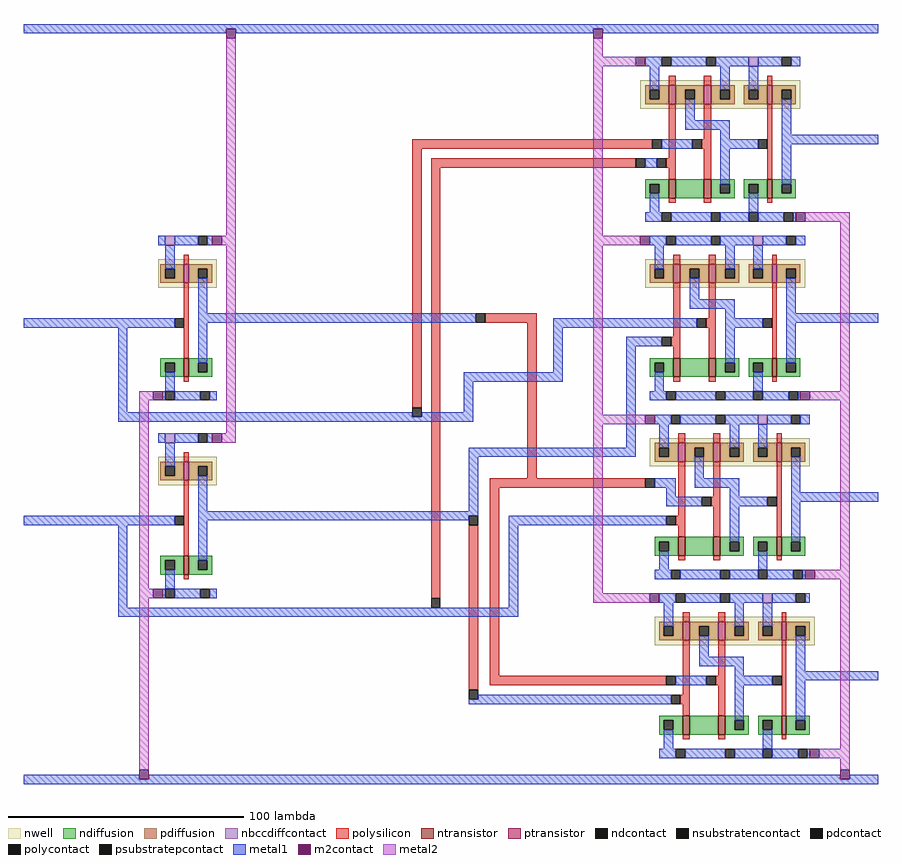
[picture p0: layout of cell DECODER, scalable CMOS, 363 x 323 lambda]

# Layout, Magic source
magic
tech scmos
<< nwell >>
rect 135 109 203 121
rect -70 33 -45 45
rect 137 33 205 45
rect -70 -51 -45 -39
rect 139 -43 207 -31
rect 141 -119 209 -107
<< polysilicon >>
rect 147 119 150 123
rect 162 119 165 123
rect 189 119 191 123
rect 38 92 140 96
rect -59 43 -57 47
rect -59 3 -57 35
rect -59 -7 -57 -5
rect 38 -18 42 92
rect 147 88 150 111
rect 162 96 165 111
rect 161 92 165 96
rect 46 84 133 88
rect 146 84 150 88
rect -59 -41 -57 -37
rect -59 -81 -57 -49
rect -59 -91 -57 -89
rect 46 -99 50 84
rect 147 79 150 84
rect 162 79 165 92
rect 189 79 191 111
rect 147 69 150 71
rect 162 69 165 71
rect 189 69 191 71
rect 149 43 152 47
rect 164 43 167 47
rect 191 43 193 47
rect 69 18 91 22
rect 87 -48 91 18
rect 149 12 152 35
rect 164 20 167 35
rect 163 16 167 20
rect 148 8 152 12
rect 149 3 152 8
rect 164 3 167 16
rect 191 3 193 35
rect 149 -7 152 -5
rect 164 -7 167 -5
rect 191 -7 193 -5
rect 151 -33 154 -29
rect 166 -33 169 -29
rect 193 -33 195 -29
rect 71 -52 137 -48
rect 62 -138 66 -68
rect 71 -132 75 -52
rect 151 -64 154 -41
rect 166 -56 169 -41
rect 165 -60 169 -56
rect 150 -68 154 -64
rect 151 -73 154 -68
rect 166 -73 169 -60
rect 193 -73 195 -41
rect 151 -83 154 -81
rect 166 -83 169 -81
rect 193 -83 195 -81
rect 153 -109 156 -105
rect 168 -109 171 -105
rect 195 -109 197 -105
rect 71 -136 146 -132
rect 153 -140 156 -117
rect 168 -132 171 -117
rect 167 -136 171 -132
rect 152 -144 156 -140
rect 153 -149 156 -144
rect 168 -149 171 -136
rect 195 -149 197 -117
rect 153 -159 156 -157
rect 168 -159 171 -157
rect 195 -159 197 -157
<< ndiffusion >>
rect -69 1 -59 3
rect -69 -3 -67 1
rect -63 -3 -59 1
rect -69 -5 -59 -3
rect -57 1 -47 3
rect -57 -3 -53 1
rect -49 -3 -47 1
rect -57 -5 -47 -3
rect -69 -83 -59 -81
rect -69 -87 -67 -83
rect -63 -87 -59 -83
rect -69 -89 -59 -87
rect -57 -83 -47 -81
rect -57 -87 -53 -83
rect -49 -87 -47 -83
rect -57 -89 -47 -87
rect 137 77 147 79
rect 137 73 139 77
rect 143 73 147 77
rect 137 71 147 73
rect 150 71 162 79
rect 165 77 175 79
rect 165 73 169 77
rect 173 73 175 77
rect 165 71 175 73
rect 179 77 189 79
rect 179 73 181 77
rect 185 73 189 77
rect 179 71 189 73
rect 191 77 201 79
rect 191 73 195 77
rect 199 73 201 77
rect 191 71 201 73
rect 139 1 149 3
rect 139 -3 141 1
rect 145 -3 149 1
rect 139 -5 149 -3
rect 152 -5 164 3
rect 167 1 177 3
rect 167 -3 171 1
rect 175 -3 177 1
rect 167 -5 177 -3
rect 181 1 191 3
rect 181 -3 183 1
rect 187 -3 191 1
rect 181 -5 191 -3
rect 193 1 203 3
rect 193 -3 197 1
rect 201 -3 203 1
rect 193 -5 203 -3
rect 141 -75 151 -73
rect 141 -79 143 -75
rect 147 -79 151 -75
rect 141 -81 151 -79
rect 154 -81 166 -73
rect 169 -75 179 -73
rect 169 -79 173 -75
rect 177 -79 179 -75
rect 169 -81 179 -79
rect 183 -75 193 -73
rect 183 -79 185 -75
rect 189 -79 193 -75
rect 183 -81 193 -79
rect 195 -75 205 -73
rect 195 -79 199 -75
rect 203 -79 205 -75
rect 195 -81 205 -79
rect 143 -151 153 -149
rect 143 -155 145 -151
rect 149 -155 153 -151
rect 143 -157 153 -155
rect 156 -157 168 -149
rect 171 -151 181 -149
rect 171 -155 175 -151
rect 179 -155 181 -151
rect 171 -157 181 -155
rect 185 -151 195 -149
rect 185 -155 187 -151
rect 191 -155 195 -151
rect 185 -157 195 -155
rect 197 -151 207 -149
rect 197 -155 201 -151
rect 205 -155 207 -151
rect 197 -157 207 -155
<< pdiffusion >>
rect 137 117 147 119
rect 137 113 139 117
rect 143 113 147 117
rect 137 111 147 113
rect 150 117 162 119
rect 150 113 154 117
rect 158 113 162 117
rect 150 111 162 113
rect 165 117 175 119
rect 165 113 169 117
rect 173 113 175 117
rect 165 111 175 113
rect 179 117 189 119
rect 179 113 181 117
rect 185 113 189 117
rect 179 111 189 113
rect 191 117 201 119
rect 191 113 195 117
rect 199 113 201 117
rect 191 111 201 113
rect -69 41 -59 43
rect -69 37 -67 41
rect -63 37 -59 41
rect -69 35 -59 37
rect -57 41 -47 43
rect -57 37 -53 41
rect -49 37 -47 41
rect -57 35 -47 37
rect -69 -43 -59 -41
rect -69 -47 -67 -43
rect -63 -47 -59 -43
rect -69 -49 -59 -47
rect -57 -43 -47 -41
rect -57 -47 -53 -43
rect -49 -47 -47 -43
rect -57 -49 -47 -47
rect 139 41 149 43
rect 139 37 141 41
rect 145 37 149 41
rect 139 35 149 37
rect 152 41 164 43
rect 152 37 156 41
rect 160 37 164 41
rect 152 35 164 37
rect 167 41 177 43
rect 167 37 171 41
rect 175 37 177 41
rect 167 35 177 37
rect 181 41 191 43
rect 181 37 183 41
rect 187 37 191 41
rect 181 35 191 37
rect 193 41 203 43
rect 193 37 197 41
rect 201 37 203 41
rect 193 35 203 37
rect 141 -35 151 -33
rect 141 -39 143 -35
rect 147 -39 151 -35
rect 141 -41 151 -39
rect 154 -35 166 -33
rect 154 -39 158 -35
rect 162 -39 166 -35
rect 154 -41 166 -39
rect 169 -35 179 -33
rect 169 -39 173 -35
rect 177 -39 179 -35
rect 169 -41 179 -39
rect 183 -35 193 -33
rect 183 -39 185 -35
rect 189 -39 193 -35
rect 183 -41 193 -39
rect 195 -35 205 -33
rect 195 -39 199 -35
rect 203 -39 205 -35
rect 195 -41 205 -39
rect 143 -111 153 -109
rect 143 -115 145 -111
rect 149 -115 153 -111
rect 143 -117 153 -115
rect 156 -111 168 -109
rect 156 -115 160 -111
rect 164 -115 168 -111
rect 156 -117 168 -115
rect 171 -111 181 -109
rect 171 -115 175 -111
rect 179 -115 181 -111
rect 171 -117 181 -115
rect 185 -111 195 -109
rect 185 -115 187 -111
rect 191 -115 195 -111
rect 185 -117 195 -115
rect 197 -111 207 -109
rect 197 -115 201 -111
rect 205 -115 207 -111
rect 197 -117 207 -115
<< metal1 >>
rect -127 143 236 145
rect -127 141 -41 143
rect -37 141 115 143
rect 119 141 236 143
rect 137 127 144 131
rect 148 127 163 131
rect 167 127 181 131
rect 185 127 195 131
rect 199 127 203 131
rect 139 117 143 127
rect 169 117 173 127
rect 181 117 185 127
rect 154 104 158 113
rect 154 100 173 104
rect 169 96 173 100
rect 195 98 199 113
rect 144 92 157 96
rect 169 92 185 96
rect 195 94 236 98
rect 137 84 142 88
rect 169 77 173 92
rect 195 77 199 94
rect 139 65 143 73
rect 181 65 185 73
rect 137 61 144 65
rect 148 61 165 65
rect 169 61 181 65
rect 185 61 196 65
rect 200 61 201 65
rect -70 51 -67 55
rect -63 51 -53 55
rect -49 51 -47 55
rect 139 51 146 55
rect 150 51 165 55
rect 169 51 183 55
rect 187 51 197 55
rect 201 51 205 55
rect -67 41 -63 51
rect 141 41 145 51
rect 171 41 175 51
rect 183 41 187 51
rect -53 22 -49 37
rect 156 28 160 37
rect 156 24 175 28
rect -127 16 -63 20
rect -53 18 65 22
rect 171 20 175 24
rect 197 22 201 37
rect -87 -20 -83 16
rect -53 1 -49 18
rect 98 16 159 20
rect 171 16 187 20
rect 197 18 236 22
rect 98 -3 102 16
rect -67 -11 -63 -3
rect 60 -7 102 -3
rect 129 8 144 12
rect -68 -15 -67 -11
rect -63 -15 -52 -11
rect -48 -15 -45 -11
rect -87 -22 38 -20
rect 60 -20 64 -7
rect 42 -22 64 -20
rect -87 -24 64 -22
rect -70 -33 -67 -29
rect -63 -33 -53 -29
rect -49 -33 -47 -29
rect -67 -43 -63 -33
rect 129 -35 133 8
rect 171 1 175 16
rect 197 1 201 18
rect 141 -11 145 -3
rect 183 -11 187 -3
rect 139 -15 146 -11
rect 150 -15 167 -11
rect 171 -15 183 -11
rect 187 -15 198 -11
rect 202 -15 203 -11
rect 141 -25 148 -21
rect 152 -25 167 -21
rect 171 -25 185 -21
rect 189 -25 199 -21
rect 203 -25 207 -21
rect 62 -39 133 -35
rect 143 -35 147 -25
rect 173 -35 177 -25
rect 185 -35 189 -25
rect -53 -62 -49 -47
rect 62 -62 66 -39
rect 158 -48 162 -39
rect 141 -52 150 -48
rect 158 -52 177 -48
rect 146 -56 150 -52
rect 173 -56 177 -52
rect 199 -54 203 -39
rect 146 -60 161 -56
rect 173 -60 189 -56
rect 199 -58 236 -54
rect -53 -64 66 -62
rect -127 -68 -63 -64
rect -53 -66 62 -64
rect -87 -103 -83 -68
rect -53 -83 -49 -66
rect 79 -68 146 -64
rect -67 -95 -63 -87
rect -68 -99 -67 -95
rect -63 -99 -52 -95
rect -48 -99 -45 -95
rect 79 -103 83 -68
rect 173 -75 177 -60
rect 199 -75 203 -58
rect 143 -87 147 -79
rect 185 -87 189 -79
rect 141 -91 148 -87
rect 152 -91 169 -87
rect 173 -91 185 -87
rect 189 -91 200 -87
rect 204 -91 205 -87
rect 143 -101 150 -97
rect 154 -101 169 -97
rect 173 -101 187 -97
rect 191 -101 201 -97
rect 205 -101 207 -97
rect -87 -107 83 -103
rect 145 -111 149 -101
rect 175 -111 179 -101
rect 187 -111 191 -101
rect 160 -124 164 -115
rect 160 -128 179 -124
rect 175 -132 179 -128
rect 201 -130 205 -115
rect 150 -136 163 -132
rect 175 -136 191 -132
rect 201 -134 236 -130
rect 66 -142 148 -140
rect 62 -144 148 -142
rect 175 -151 179 -136
rect 201 -151 205 -134
rect 145 -163 149 -155
rect 187 -163 191 -155
rect 143 -167 150 -163
rect 154 -167 171 -163
rect 175 -167 187 -163
rect 191 -167 202 -163
rect 206 -167 207 -163
rect -127 -176 -78 -174
rect -74 -176 220 -174
rect 224 -176 236 -174
rect -127 -178 236 -176
<< metal2 >>
rect -41 55 -37 139
rect -43 51 -37 55
rect -78 -15 -72 -11
rect -78 -95 -74 -15
rect -41 -29 -37 51
rect -43 -33 -37 -29
rect 115 131 119 139
rect 115 127 133 131
rect 115 55 119 127
rect 205 61 224 65
rect 115 51 135 55
rect 115 -21 119 51
rect 220 -11 224 61
rect 207 -15 224 -11
rect 115 -25 137 -21
rect -78 -99 -72 -95
rect 115 -97 119 -25
rect 220 -87 224 -15
rect 209 -91 224 -87
rect -78 -172 -74 -99
rect 115 -101 139 -97
rect 220 -163 224 -91
rect 211 -167 224 -163
rect 220 -172 224 -167
<< ntransistor >>
rect -59 -5 -57 3
rect -59 -89 -57 -81
rect 147 71 150 79
rect 162 71 165 79
rect 189 71 191 79
rect 149 -5 152 3
rect 164 -5 167 3
rect 191 -5 193 3
rect 151 -81 154 -73
rect 166 -81 169 -73
rect 193 -81 195 -73
rect 153 -157 156 -149
rect 168 -157 171 -149
rect 195 -157 197 -149
<< ptransistor >>
rect 147 111 150 119
rect 162 111 165 119
rect 189 111 191 119
rect -59 35 -57 43
rect -59 -49 -57 -41
rect 149 35 152 43
rect 164 35 167 43
rect 191 35 193 43
rect 151 -41 154 -33
rect 166 -41 169 -33
rect 193 -41 195 -33
rect 153 -117 156 -109
rect 168 -117 171 -109
rect 195 -117 197 -109
<< polycontact >>
rect 140 92 144 96
rect -63 16 -59 20
rect 157 92 161 96
rect 185 92 189 96
rect 38 -22 42 -18
rect 133 84 137 88
rect 142 84 146 88
rect -63 -68 -59 -64
rect 65 18 69 22
rect 159 16 163 20
rect 187 16 191 20
rect 144 8 148 12
rect 137 -52 141 -48
rect 46 -103 50 -99
rect 62 -68 66 -64
rect 161 -60 165 -56
rect 189 -60 193 -56
rect 146 -68 150 -64
rect 146 -136 150 -132
rect 62 -142 66 -138
rect 163 -136 167 -132
rect 191 -136 195 -132
rect 148 -144 152 -140
<< ndcontact >>
rect -67 -3 -63 1
rect -53 -3 -49 1
rect -67 -87 -63 -83
rect -53 -87 -49 -83
rect 139 73 143 77
rect 169 73 173 77
rect 181 73 185 77
rect 195 73 199 77
rect 141 -3 145 1
rect 171 -3 175 1
rect 183 -3 187 1
rect 197 -3 201 1
rect 143 -79 147 -75
rect 173 -79 177 -75
rect 185 -79 189 -75
rect 199 -79 203 -75
rect 145 -155 149 -151
rect 175 -155 179 -151
rect 187 -155 191 -151
rect 201 -155 205 -151
<< pdcontact >>
rect 139 113 143 117
rect 154 113 158 117
rect 169 113 173 117
rect 181 113 185 117
rect 195 113 199 117
rect -67 37 -63 41
rect -53 37 -49 41
rect -67 -47 -63 -43
rect -53 -47 -49 -43
rect 141 37 145 41
rect 156 37 160 41
rect 171 37 175 41
rect 183 37 187 41
rect 197 37 201 41
rect 143 -39 147 -35
rect 158 -39 162 -35
rect 173 -39 177 -35
rect 185 -39 189 -35
rect 199 -39 203 -35
rect 145 -115 149 -111
rect 160 -115 164 -111
rect 175 -115 179 -111
rect 187 -115 191 -111
rect 201 -115 205 -111
<< nbccdiffcontact >>
rect 181 127 185 131
rect -67 51 -63 55
rect -67 -33 -63 -29
rect 183 51 187 55
rect 185 -25 189 -21
rect 187 -101 191 -97
<< m2contact >>
rect -41 139 -37 143
rect 115 139 119 143
rect 133 127 137 131
rect 201 61 205 65
rect -47 51 -43 55
rect 135 51 139 55
rect -72 -15 -68 -11
rect -47 -33 -43 -29
rect 203 -15 207 -11
rect 137 -25 141 -21
rect -72 -99 -68 -95
rect 205 -91 209 -87
rect 139 -101 143 -97
rect 207 -167 211 -163
rect -78 -176 -74 -172
rect 220 -176 224 -172
<< psubstratepcontact >>
rect -67 -15 -63 -11
rect -52 -15 -48 -11
rect -67 -99 -63 -95
rect -52 -99 -48 -95
rect 144 61 148 65
rect 165 61 169 65
rect 181 61 185 65
rect 196 61 200 65
rect 146 -15 150 -11
rect 167 -15 171 -11
rect 183 -15 187 -11
rect 198 -15 202 -11
rect 148 -91 152 -87
rect 169 -91 173 -87
rect 185 -91 189 -87
rect 200 -91 204 -87
rect 150 -167 154 -163
rect 171 -167 175 -163
rect 187 -167 191 -163
rect 202 -167 206 -163
<< nsubstratencontact >>
rect 144 127 148 131
rect 163 127 167 131
rect 195 127 199 131
rect -53 51 -49 55
rect -53 -33 -49 -29
rect 146 51 150 55
rect 165 51 169 55
rect 197 51 201 55
rect 148 -25 152 -21
rect 167 -25 171 -21
rect 199 -25 203 -21
rect 150 -101 154 -97
rect 169 -101 173 -97
rect 201 -101 205 -97
<< end >>
